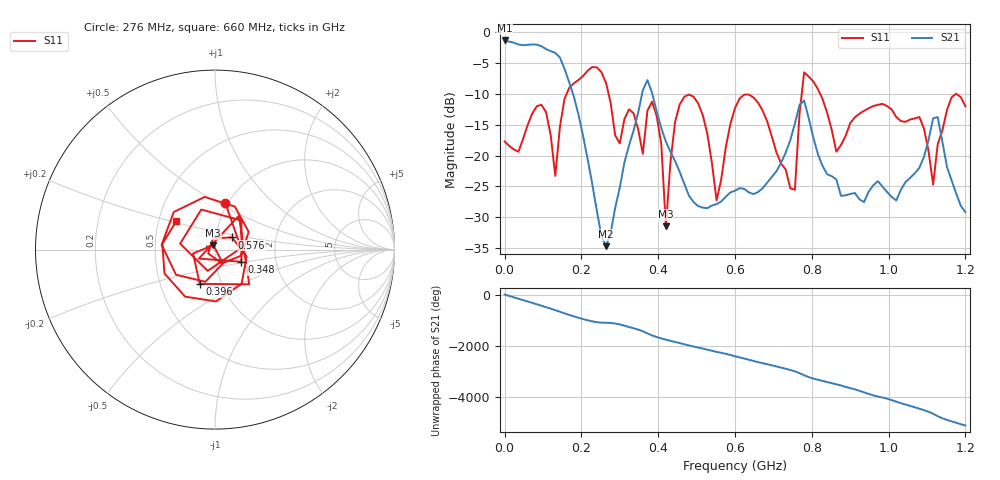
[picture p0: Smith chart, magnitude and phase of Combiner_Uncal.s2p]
# HZ S RI R 50
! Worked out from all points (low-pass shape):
!   101 points, 50 kHz to 1.2 GHz, reference 50 ohm
!   highest |S21| = -1.40 dB at 50 kHz (marker M1); lowest = -34.7 dB at 264 MHz (marker M2)
!   |S21| within 3 dB of the highest: start of sweep to 145.7 MHz
!   lowest |S11| = -31.5 dB at 420 MHz (marker M3), VSWR 1.05, Z = 49 + j2.45 ohm
!   |S11| at or under -10 dB: start of sweep to 161.9 MHz; 270.7 MHz to 773.9 MHz (503.2 MHz wide, 96.3 % of centre); 821.6 MHz to end of sweep
!   S12 and S22 are empty: the file has one direction only
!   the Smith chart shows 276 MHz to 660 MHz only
!   S11 on the Smith chart (normalised r, x): 276 MHz: 0.97, +0.55; 348 MHz: 1.33, -0.18; 396 MHz: 0.79, -0.31; 576 MHz: 1.20, +0.16; 660 MHz: 0.62, +0.21
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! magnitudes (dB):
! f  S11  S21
! 50 kHz  -17.7  -1.4
! 96.05 MHz  -11.8  -2.3
! 132 MHz  -23.3  -3.4
! 204 MHz  -7.2  -16.7
! 264 MHz  -8.2  -34.7
! 276 MHz  -11.4  -32.6
! 348 MHz  -15.8  -13.0
! 396 MHz  -13.6  -12.8
! 408 MHz  -18.1  -15.6
! 420 MHz  -31.5  -17.8
! 468 MHz  -10.5  -24.6
! 552 MHz  -27.3  -27.9
! 576 MHz  -18.7  -26.7
! 600 MHz  -12.3  -25.7
! 660 MHz  -11.4  -25.9
! 756 MHz  -25.5  -14.9
! 780 MHz  -6.6  -11.1
! 804 MHz  -8.0  -17.1
! 864 MHz  -19.4  -23.9
! 1.008 GHz  -12.6  -26.7
! 1.128 GHz  -18.1  -13.8
! 1.2 GHz  -12.0  -29.2
